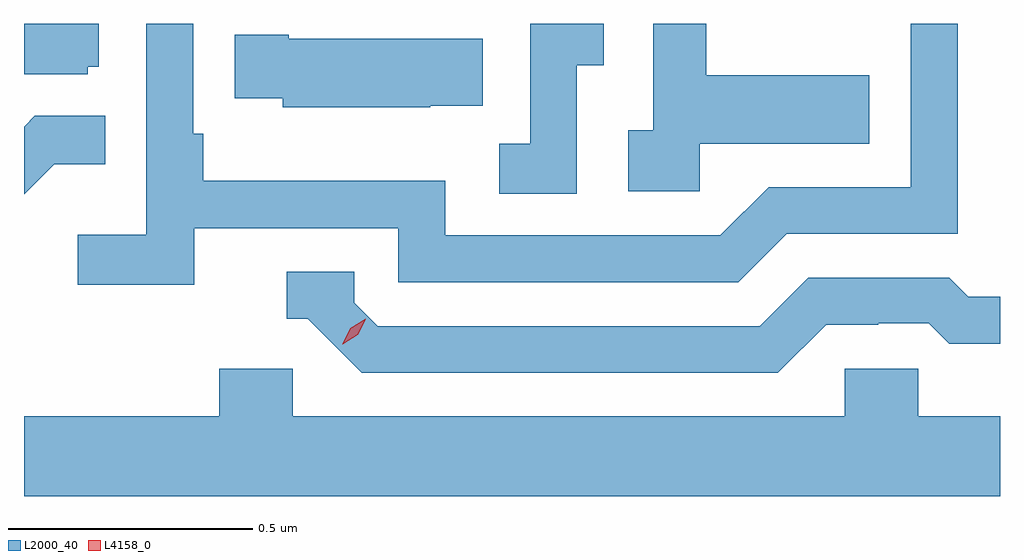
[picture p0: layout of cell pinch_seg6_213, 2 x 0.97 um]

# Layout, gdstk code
import gdstk
lib = gdstk.Library(unit=1e-6, precision=1e-09)
def P(c, l, *ps):  # polygons
    for p in ps: c.add(gdstk.Polygon(p, *l))
L2000_40 = (2000, 40)
L4158_0 = (4158, 0)

pinch_seg6_213 = lib.new_cell('pinch_seg6_213')
P(pinch_seg6_213, L2000_40, [(1044.822,920.244),(1044.844,920.244),(1044.844,920.333),(1044.691,920.333),(1044.691,920.229),(1044.822,920.229)],
  [(1045.04,919.914),(1045.458,919.914),(1045.458,919.803),(1046.155,919.803),(1046.254,919.902),(1046.604,919.902),(1046.604,920.333),(1046.508,920.333),(1046.508,919.998),(1046.217,919.998),(1046.118,919.899),(1045.554,919.899),(1045.554,920.011),(1045.058,920.011),(1045.058,920.107),(1045.038,920.107),(1045.038,920.333),(1044.942,920.333),(1044.942,919.9),(1044.801,919.9),(1044.801,919.798),(1045.04,919.798)],
  [(1045.824,920.248),(1045.879,920.248),(1045.879,920.333),(1045.728,920.333),(1045.728,920.087),(1045.665,920.087),(1045.665,919.984),(1045.824,919.984)],
  [(1046.076,920.087),(1046.423,920.087),(1046.423,920.227),(1046.089,920.227),(1046.089,920.333),(1045.98,920.333),(1045.98,920.114),(1045.929,920.114),(1045.929,919.989),(1046.076,919.989)],
  [(1045.523,920.165),(1045.631,920.165),(1045.631,920.302),(1045.234,920.302),(1045.234,920.31),(1045.123,920.31),(1045.123,920.18),(1045.221,920.18),(1045.221,920.162),(1045.523,920.162)],
  [(1044.753,920.045),(1044.857,920.045),(1044.857,920.144),(1044.713,920.144),(1044.691,920.122),(1044.691,919.983)],
  [(1046.335,919.716),(1046.442,919.716),(1046.442,919.719),(1046.545,919.719),(1046.587,919.677),(1046.691,919.677),(1046.691,919.773),(1046.626,919.773),(1046.587,919.812),(1046.298,919.812),(1046.199,919.713),(1045.416,919.713),(1045.368,919.761),(1045.368,919.824),(1045.229,919.824),(1045.229,919.728),(1045.272,919.728),(1045.383,919.617),(1046.236,919.617)],
  [(1046.691,919.528),(1046.523,919.528),(1046.523,919.626),(1046.373,919.626),(1046.373,919.528),(1045.242,919.528),(1045.242,919.626),(1045.091,919.626),(1045.091,919.528),(1044.691,919.528),(1044.691,919.364),(1046.691,919.364)])
P(pinch_seg6_213, L4158_0, [(1045.343,919.676),(1045.343,919.676),(1045.36,919.709),(1045.391,919.728),(1045.391,919.728),(1045.391,919.727),(1045.375,919.695),(1045.344,919.676)])

lib.write_gds('pinch_seg6_213.gds')
